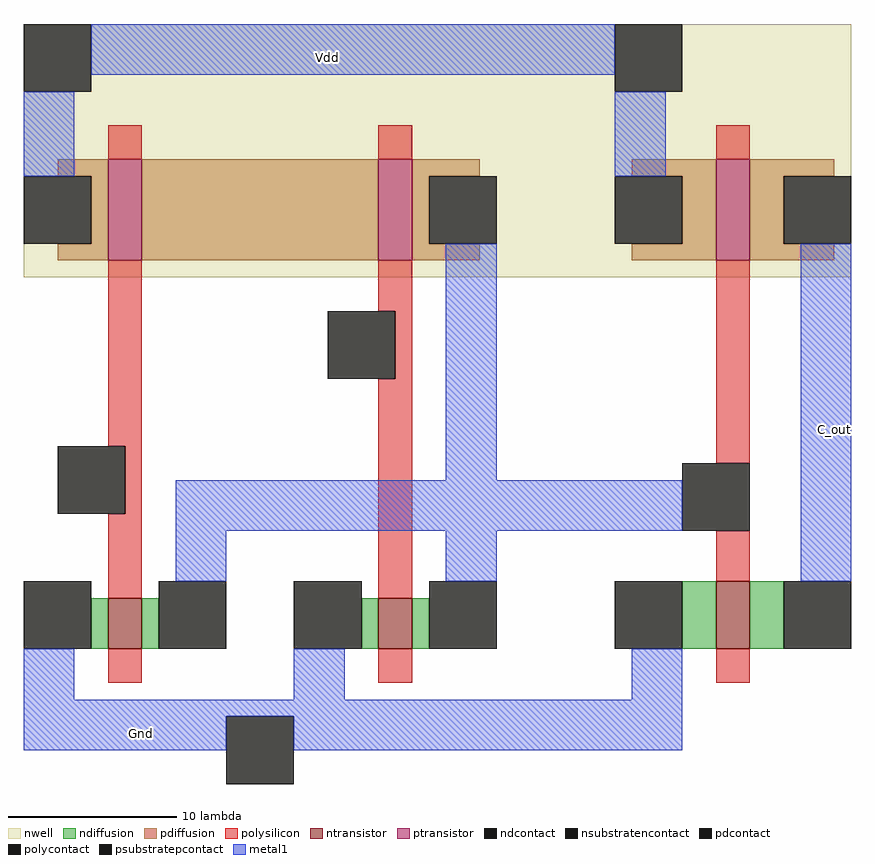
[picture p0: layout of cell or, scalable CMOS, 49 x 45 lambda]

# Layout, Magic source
magic
tech scmos
<< nwell >>
rect -12 -3 37 12
<< polysilicon >>
rect -7 4 -5 6
rect 9 4 11 6
rect 29 4 31 6
rect -7 -13 -5 -2
rect 9 -5 11 -2
rect 10 -9 11 -5
rect -6 -17 -5 -13
rect -7 -22 -5 -17
rect 9 -22 11 -9
rect 29 -14 31 -2
rect 29 -21 31 -18
rect -7 -27 -5 -25
rect 9 -27 11 -25
rect 29 -27 31 -25
<< ndiffusion >>
rect -8 -25 -7 -22
rect -5 -25 -4 -22
rect 8 -25 9 -22
rect 11 -25 12 -22
rect 27 -25 29 -21
rect 31 -25 33 -21
<< pdiffusion >>
rect -10 3 -7 4
rect -8 -1 -7 3
rect -10 -2 -7 -1
rect -5 -2 9 4
rect 11 3 15 4
rect 24 3 29 4
rect 11 -1 12 3
rect 27 -1 29 3
rect 11 -2 15 -1
rect 24 -2 29 -1
rect 31 3 36 4
rect 31 -1 33 3
rect 31 -2 36 -1
<< metal1 >>
rect -8 9 23 12
rect -12 3 -9 8
rect 23 3 26 8
rect 13 -15 16 -1
rect -3 -18 27 -15
rect -3 -21 0 -18
rect 13 -21 16 -18
rect 34 -21 37 -1
rect -12 -28 -9 -25
rect 4 -28 7 -25
rect 24 -28 27 -25
rect -12 -29 27 -28
rect -12 -31 0 -29
rect 4 -31 27 -29
<< ntransistor >>
rect -7 -25 -5 -22
rect 9 -25 11 -22
rect 29 -25 31 -21
<< ptransistor >>
rect -7 -2 -5 4
rect 9 -2 11 4
rect 29 -2 31 4
<< polycontact >>
rect 6 -9 10 -5
rect -10 -17 -6 -13
rect 27 -18 31 -14
<< ndcontact >>
rect -12 -25 -8 -21
rect -4 -25 0 -21
rect 4 -25 8 -21
rect 12 -25 16 -21
rect 23 -25 27 -21
rect 33 -25 37 -21
<< pdcontact >>
rect -12 -1 -8 3
rect 12 -1 16 3
rect 23 -1 27 3
rect 33 -1 37 3
<< psubstratepcontact >>
rect 0 -33 4 -29
<< nsubstratencontact >>
rect -12 8 -8 12
rect 23 8 27 12
<< labels >>
rlabel metal1 -5 -30 -5 -30 3 Gnd
rlabel metal1 36 -12 36 -12 1 C_out
rlabel metal1 6 10 6 10 1 Vdd
<< end >>
